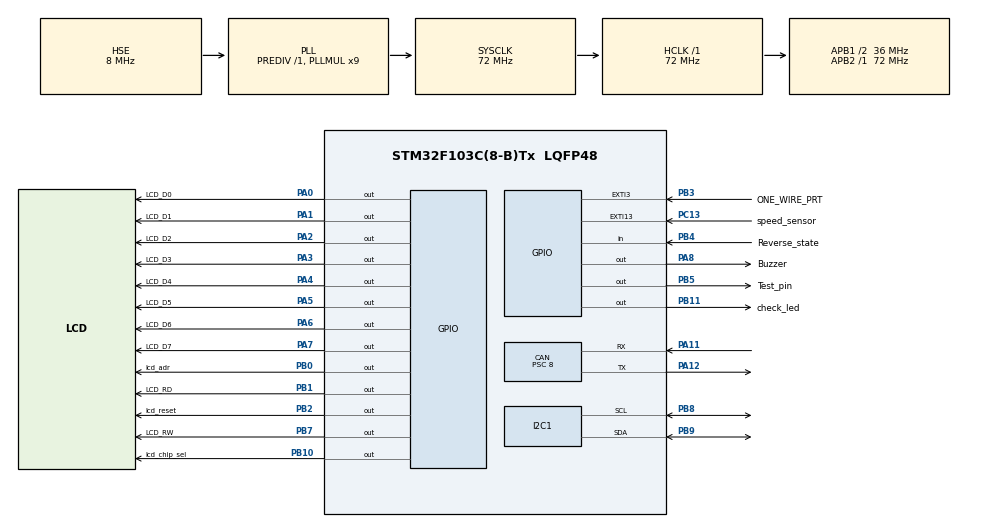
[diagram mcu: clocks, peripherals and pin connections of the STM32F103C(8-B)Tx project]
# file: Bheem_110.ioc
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CAN.BS1=CAN_BS1_15TQ
CAN.BS2=CAN_BS2_2TQ
CAN.CalculateBaudRate=250000
CAN.CalculateTimeBit=4000
CAN.CalculateTimeQuantum=222.22222222222223
CAN.Prescaler=8
I2C1.I2C_Mode=I2C_Fast
IWDG.Prescaler=IWDG_PRESCALER_128
IWDG.Reload=1000
Mcu.Family=STM32F1
Mcu.Name=STM32F103C(8-B)Tx
Mcu.Package=LQFP48
NVIC.EXTI15_10_IRQn=true\:0\:0\:false\:false\:true\:true\:true\:true
NVIC.EXTI3_IRQn=true\:0\:0\:false\:false\:true\:true\:true\:true
NVIC.PVD_IRQn=true\:0\:0\:false\:false\:true\:true\:true\:true
NVIC.PriorityGroup=NVIC_PRIORITYGROUP_4
NVIC.TIM2_IRQn=true\:0\:0\:false\:false\:true\:true\:true\:true
NVIC.USB_LP_CAN1_RX0_IRQn=true\:0\:0\:false\:false\:true\:true\:true\:true
PA0-WKUP.GPIO_Label=LCD_D0
PA0-WKUP.Signal=GPIO_Output
PA1.GPIO_Label=LCD_D1
PA1.Signal=GPIO_Output
PA11.Mode=CAN_Activate
PA11.Signal=CAN_RX
PA12.Mode=CAN_Activate
PA12.Signal=CAN_TX
PA13.Mode=Serial_Wire
PA13.Signal=SYS_JTMS-SWDIO
PA14.Mode=Serial_Wire
PA14.Signal=SYS_JTCK-SWCLK
PA2.GPIO_Label=LCD_D2
PA2.Signal=GPIO_Output
PA3.GPIO_Label=LCD_D3
PA3.Signal=GPIO_Output
PA4.GPIO_Label=LCD_D4
PA4.Signal=GPIO_Output
PA5.GPIO_Label=LCD_D5
PA5.Signal=GPIO_Output
PA6.GPIO_Label=LCD_D6
PA6.Signal=GPIO_Output
PA7.GPIO_Label=LCD_D7
PA7.Signal=GPIO_Output
PA8.GPIO_Label=Buzzer
PA8.Signal=GPIO_Output
PB0.GPIO_Label=lcd_adr
PB0.Signal=GPIO_Output
PB1.GPIO_Label=LCD_RD
PB1.Signal=GPIO_Output
PB10.GPIO_Label=lcd_chip_sel
PB10.Signal=GPIO_Output
PB11.GPIO_Label=check_led
PB11.Signal=GPIO_Output
PB2.GPIO_Label=lcd_reset
PB2.Signal=GPIO_Output
PB3.GPIO_Label=ONE_WIRE_PRT
PB3.GPIO_ModeDefaultEXTI=GPIO_MODE_IT_RISING
PB3.GPIO_PuPd=GPIO_PULLUP
PB3.Signal=GPXTI3
PB4.GPIO_Label=Reverse_state
PB4.GPIO_PuPd=GPIO_PULLUP
PB4.Signal=GPIO_Input
PB5.GPIO_Label=Test_pin
PB5.Signal=GPIO_Output
PB7.GPIO_Label=LCD_RW
PB7.PinState=GPIO_PIN_RESET
PB7.Signal=GPIO_Output
PB8.Mode=I2C
PB8.Signal=I2C1_SCL
PB9.Mode=I2C
PB9.Signal=I2C1_SDA
PC13-TAMPER-RTC.GPIO_Label=speed_sensor
PC13-TAMPER-RTC.GPIO_ModeDefaultEXTI=GPIO_MODE_IT_FALLING
PC13-TAMPER-RTC.GPIO_PuPd=GPIO_PULLUP
PC13-TAMPER-RTC.Signal=GPXTI13
PC14-OSC32_IN.Mode=LSE-External-Oscillator
PC14-OSC32_IN.Signal=RCC_OSC32_IN
PC15-OSC32_OUT.Mode=LSE-External-Oscillator
PC15-OSC32_OUT.Signal=RCC_OSC32_OUT
PD0-OSC_IN.Mode=HSE-External-Oscillator
PD0-OSC_IN.Signal=RCC_OSC_IN
PD1-OSC_OUT.Mode=HSE-External-Oscillator
PD1-OSC_OUT.Signal=RCC_OSC_OUT
ProjectManager.HeapSize=0x200
ProjectManager.StackSize=0x400
ProjectManager.TargetToolchain=STM32CubeIDE
RCC.ADCPresc=RCC_ADCPCLK2_DIV6
RCC.AHBFreq_Value=72000000
RCC.APB1CLKDivider=RCC_HCLK_DIV2
RCC.APB1Freq_Value=36000000
RCC.APB1TimFreq_Value=72000000
RCC.APB2Freq_Value=72000000
RCC.APB2TimFreq_Value=72000000
RCC.HCLKFreq_Value=72000000
RCC.PLLMUL=RCC_PLL_MUL9
RCC.PLLSourceVirtual=RCC_PLLSOURCE_HSE
RCC.SYSCLKFreq_VALUE=72000000
RCC.SYSCLKSource=RCC_SYSCLKSOURCE_PLLCLK
RCC.USBFreq_Value=72000000
TIM2.Period=72-1
TIM2.Prescaler=100-1
VP_IWDG_VS_IWDG.Mode=IWDG_Activate
VP_TIM2_VS_ClockSourceINT.Mode=Internal
board=custom

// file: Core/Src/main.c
/* USER CODE BEGIN Header */
/** to ceck pull in git
  ******************************************************************************
  * @file           : main.c
  * @brief          : Main program body
  ******************************************************************************
  * @attention
  *
  * Copyright (c) 2023 STMicroelectronics.
  * All rights reserved.
  *
  * This software is licensed under terms that can be found in the LICENSE file
  * in the root directory of this software component.
  * If no LICENSE file comes with this software, it is provided AS-IS.
  *
  ******************************************************************************
  */
/* USER CODE END Header */
#include "main.h"

/* USER CODE BEGIN Includes */

#include "Motordriver_Singlewire.h"
#include "Daly_can_com.h"
#include "Daly_can_com_source.c"
#include "FLASH_PAGE_F1.h"
#define EEPROM_DEV_ADD 0xA0 // EEPROM 7-bit address
#define bitSet(value, bit) ((value) |= (1UL << (bit)))
#define bitClear(value, bit) ((value) &= ~(1UL << (bit)))
#define  calib_reg 440//1656-165;
#define poles 24  //6*4
/* USER CODE END Includes */

CAN_HandleTypeDef hcan;

I2C_HandleTypeDef hi2c1;

IWDG_HandleTypeDef hiwdg;

TIM_HandleTypeDef htim2;

/* USER CODE BEGIN PV */
volatile uint8_t syncFlag = 0; // Whenever this flag is set the External Interrupt Will Disable, Reset External Interrupt Will Enable
volatile uint16_t signalCounter; //It increments the External Interrupt detection stored in dataArray.
volatile uint16_t timerCounter = 0; //It will incremented every timer interrupt occur with time.
volatile uint16_t dataArray[400]; //It stores whenever External Interrupt detected that corresponding time store in the timerCounter Variable.
volatile uint8_t validDataFlag; //If the checksum is equal to the received data then it will be stored 1 else it will 0.
uint16_t m_sec=0,lop=0;
uint8_t Tx_count=0;//This variable is for loop iteration
uint8_t Transmit_Data[8]; //Declaration of an array capable of holding one byte of transmit data
uint32_t Rx_Id; //Temporary variable for storing received identifier
uint32_t TxMailBox; // This variable is used to  transmitting data and acts like a message buffer
uint32_t speed_count=0,next_update=500000;
uint32_t speed_count_temp=0;
uint8_t after_sec=0;
uint8_t Odo_Write[3];//Array to store odo-meter values for the purpose of writing data
uint8_t data_Read[3];//Array to store the read odo-meter data retrieved from EEPROM
uint32_t Odo_Value[10],Odo_Value_1[10];
uint8_t Km_Flag=1;
uint8_t first_time=1;
uint8_t ODO_SEC=1;
uint8_t sensor_change=0;
uint8_t trip_reset_state=0;
int16_t Reserved_SOC=0;
uint16_t can_delay=500;
uint8_t can_state=0;
uint8_t print_pass=0;
uint8_t Battery_high_Temp=0;
uint16_t print_delay=2000;
uint8_t print_state=1;
uint8_t bat_icon_toogle=0;
uint8_t dataArray1[12];
uint8_t checksum_error;
uint16_t SYC_DATA=0;
uint8_t Pin_State;
uint16_t LBD_value;
uint8_t LBD_State=0;
uint32_t CGC_value;
uint32_t last_flash_update,read_flash_update;
uint8_t EEPROM_ADDRESS[10]={0x10,0x20,0x30,0x40,0x50,0x60,0x70,0x80,0x90,0xA0};
uint8_t TEMP_SP=0;

uint16_t Speed_cal=0;
uint8_t sensor_type=0;
//uint8_t syncFlag = 0; // Whenever this flag is set the External Interrupt Will Disable, Reset External Interrupt Will Enable
//uint8_t signalCounter=0; //It increments bit position for data bit by bit storing.
uint8_t timerCounter1 = 0; //It will incremented every timer interrupt occur with time.
uint8_t timerCounter2 = 0;
uint16_t timerCounter3 = 0;
struct motor_controller Motor_Data;
struct Speed //structure declaration
{
	uint32_t Odometer_Value;//structure members
	uint32_t Odometer_Value_temp;
	uint32_t Ref;
}Range;
void Split(uint32_t);//Function declaration
void Merge();//Function declaration
//Array declaration
uint8_t data_Write[3];
uint8_t data_Read[3];
uint16_t calib_write[2];
uint16_t calib_read[2];
uint8_t ADR_LOC=0;
uint8_t test_bit = 0;
CAN_TxHeaderTypeDef TxHeader;// Adding structure variable for accessing Transmitter frame format element Eg: StdId,RTR..
CAN_RxHeaderTypeDef RxHeader;// Adding Structure variable for accessing Receiver frame format element

uint16_t Bike_speed;
unsigned int BMS_ID[]={0X18900140,0X18910140, 0X18920140,0X18930140,0X18940140,0X18950140,0X18960140,0X18970140,0X18980140,0X18520140,0X18500140,0x09011024};

/* USER CODE END PV */

void SystemClock_Config(void);
static void MX_GPIO_Init(void);
static void MX_CAN_Init(void);
static void MX_TIM2_Init(void);
static void MX_I2C1_Init(void);
static void MX_IWDG_Init(void);

/* USER CODE BEGIN 0 */

void EEPROM_Write(uint16_t address, uint8_t* data, uint16_t size);//Write Function Declaration
void EEPROM_Read(uint16_t address, uint8_t* data, uint16_t size);//Read Function Declaration
void CAN_BMS(void);//Declaration

////10 different type of Extended Identifier stored in a array

///*Transmitter Function
// * In this function 10 different types of identifier throw on the CAN bus in a particular time delay
// * for Receiving response from BMS according to the Identifier request
// * Transmit data should be given to the mailbox
// */

void parllel_transmit(uint8_t data)
{
	GPIOA->ODR=0X00|data;
}

void Split(uint32_t Odo_Value)
{
	data_Write[0]= Odo_Value & 0xFF;
	data_Write[1]= (Odo_Value>>8) & 0xFF;
	data_Write[2]= (Odo_Value>>16) & 0xFF;
}
/*
 * This function is used to merging data which is read from EEPROM
 * Merging individual byte of data and stored in a Structure
 */

void I2C_Write_EEPROM(uint32_t data_eeprom,uint8_t address)
{
   Split(data_eeprom);
   EEPROM_Write(address, data_Write, sizeof(data_Write));//Write odo-meter data
}

int I2C_Read_EEPROM(uint8_t address)
{
	EEPROM_Read(address, data_Read, sizeof(data_Read));
	return((data_Read[2] << 16) | (data_Read[1] << 8) | (data_Read[0]));
}

/*
 * This function is used to write the data in EEPROM
 * This function contains Target device address,Internal Memory address
 * Size of internal memory address,Data buffer for storing write data ,
 * Size Amount of data to be sent and Timeout Timeout duration
 */
void EEPROM_Write(uint16_t address, uint8_t* data, uint16_t size)
{
  HAL_I2C_Mem_Write(&hi2c1, EEPROM_DEV_ADD, address, I2C_MEMADD_SIZE_8BIT, data, size, HAL_MAX_DELAY);
  HAL_Delay(5); // Delay for EEPROM write operation
}
/*
 * This function is used to read the data from EEPROM
 * This function contains Target device address,Internal Memory address
 * Size of internal memory address,Data Buffer for storing read data,
 * Size Amount of data to be read and Timeout Timeout duration
 */
void EEPROM_Read(uint16_t address, uint8_t* data, uint16_t size)
{
  HAL_I2C_Mem_Read(&hi2c1, EEPROM_DEV_ADD, address, I2C_MEMADD_SIZE_8BIT, data, size, HAL_MAX_DELAY);
  HAL_Delay(5); // Delay for EEPROM read operation
}

void battery_voltage()
{
	lcd_clear(7, 0, 12);
	lcd_print_digit_wos(7, 0, (BMS.Cumulative_Total_Voltage/100));
	lcd_print_digit_wos(7, 6, (BMS.Cumulative_Total_Voltage/10)%10);
	lcd_print_char(7, 12, "V");
}

void battery_current()
{
	lcd_clear(7, 110, 12);
	lcd_print_digit_wos(7, 110, (BMS.Current/100));
	lcd_print_digit_wos(7, 116, (BMS.Current/10)%10);
	lcd_print_char(7, 122, "A");
}
void battery_cycle()
{
	charge_cycle_print();
	CGC_value=BMS.Cumulative_Charge/BMS.Battery_capacity;
 	lcd_print_digit_wos(3, 103, (CGC_value)/1000);
	lcd_print_digit_wos(3, 109, ((CGC_value)%1000)/100);
	lcd_print_digit_wos(3, 115, ((((CGC_value)%1000)%100)/10));
	lcd_print_digit_wos(3, 121, ((((CGC_value)%1000)%100)%10));
}

uint8_t tog_temp=0;
void battery_temp()
{

	if((BMS.Max_Temp==0)&&(BMS.Min_Temp==0))
	{
		lcd_print_digit(0, 0, BMS.Max_Temp);
		lcd_print_convert(0, 12, 0x03);
		lcd_print_convert(0, 13, 0x03);
		lcd_print_char(0, 15, "C");
	}
	else
	{
		if(BMS.Max_Temp>50)
		{
			lcd_print_digit(0, 0, ((BMS.Max_Temp)-40));
			lcd_print_convert(0, 12, 0x03);
			lcd_print_convert(0, 13, 0x03);
			lcd_print_char(0, 15, "C");
		}
		else
		{
			if((BMS.Min_Temp<=49)&&(BMS.Min_Temp>=40))// less tham 10 degree min temp will be printed
			{
				lcd_print_digit(0, 0, ((BMS.Min_Temp)-40));//
				lcd_print_convert(0, 12, 0x03);
				lcd_print_convert(0, 13, 0x03);
				lcd_print_char(0, 15, "C");
			}

			if((BMS.Min_Temp<=39)&&(BMS.Min_Temp>=31))// less tham 10 degree min temp will be printed
			{
				lcd_print_convert(0, 0, 0x10);
				lcd_print_convert(0, 1, 0x10);
				lcd_print_convert(0, 2, 0x10);
				lcd_print_convert(0, 3, 0x10);
				lcd_print_digit(0, 5, 40-((BMS.Min_Temp)));//
				lcd_print_convert(0, 11, 0x03);
				lcd_print_convert(0, 12, 0x03);
				lcd_print_char(0, 14, "C");
			}
			if((BMS.Min_Temp<=30)&&(BMS.Min_Temp>=0))// less tham 10 degree min temp will be printed
			{
				lcd_print_convert(0, 0, 0x10);
				lcd_print_convert(0, 1, 0x10);
				lcd_print_convert(0, 2, 0x10);
				lcd_print_convert(0, 3, 0x10);
				lcd_print_digit(0, 5, 40-((BMS.Min_Temp)));//
				lcd_print_convert(0, 17, 0x03);
				lcd_print_convert(0, 18, 0x03);
				lcd_print_char(0, 20, "C");
			}
		}
	}

	// negative value should be printer draw (-)

	if(BMS.Max_Temp>95)
	{
		tog_temp=(!tog_temp);

		if(tog_temp)
		{
			Battery_high_Temp=1;
			over_temperature_print();
		}
		else
		{
			lcd_clear(1, 25, 13);
			lcd_clear(2, 25, 13);
		}
	}

	if(BMS.Max_Temp<90)
	{
		lcd_clear(1, 25, 12);
		lcd_clear(2, 25, 13);
		Battery_high_Temp=0;
	}

	if((BMS.Max_Temp==0)&&(BMS.Min_Temp==0))
	{
		lcd_print_digit_wos(0, 0, 0);
		lcd_print_digit_wos(0, 6, 0);
	}
}
uint8_t neg_soc=0;
void battery_soc()
{
	if(BMS.SOC>=150)
	{
		neg_soc=0;
		Reserved_SOC=(int)1000.0-((1000.0-BMS.SOC)*(100.0/85.0));
	}
	else
	{
		neg_soc=1;
		Reserved_SOC=150-BMS.SOC;
	}

	if(Reserved_SOC==1000){
		lcd_clear(7, 98, 29);
		lcd_print_digit_wos(7, 104, 1);
		lcd_print_digit_wos(7, 110, 0);
		lcd_print_digit_wos(7, 116, 0);
		lcd_print_char(7, 122, "%");
	}
	else{
		lcd_clear(7, 98, 29);
		if(neg_soc)
		{
			//lcd_print_convert(7, 104, 0x10);
			lcd_print_convert(7, 105, 0x10);
			lcd_print_convert(7, 106, 0x10);
			lcd_print_convert(7, 107, 0x10);
			lcd_print_convert(7, 108, 0x10);
		}
		lcd_print_digit_wos(7, 110, (Reserved_SOC/100));
		lcd_print_digit_wos(7, 116, (Reserved_SOC/10)%10);
		lcd_print_char(7, 122, "%");
	}
	battery_bar_soc();
}
uint8_t start_inc=0;uint8_t Reverse_status=0;uint16_t DTE=0;
void Gear_Status()
{

	if(HAL_GPIO_ReadPin(GPIOB, Reverse_state_Pin)==1)
		{
			gear_status_print(0); // REVERSE
			Reverse_status=1;
		}
	else
		{
			Reverse_status=0;
			if(Motor_Data.Device_Code==8)
			{
				gear_status_print(Motor_Data.Three_speed);

				if(Motor_Data.Three_speed==1)
				{
					DTE=(Reserved_SOC*1.4)/10.0;
				}
				if(Motor_Data.Three_speed==2)
				{
					DTE=(Reserved_SOC*1.2)/10.0;
				}
				if(Motor_Data.Three_speed==3)
				{
					DTE=(Reserved_SOC*1)/10.0;
				}
			}

			if(Motor_Data.Device_Code==13)
			{
				if(Motor_Data.Three_speed==3)
				{
					gear_status_print(1);
					DTE=(Reserved_SOC*1.4)/10.0;
				}
				if(Motor_Data.Three_speed==0)
				{
					gear_status_print(2);
					DTE=(Reserved_SOC*1.2)/10.0;
				}
				if(Motor_Data.Three_speed==1)
				{
					gear_status_print(3);
					DTE=(Reserved_SOC*1)/10.0;
				}
			}

//				if((HAL_GPIO_ReadPin(GPIOB, Gear_1_Pin)==1)&&((HAL_GPIO_ReadPin(GPIOB, Gear_3_Pin)==0)))
//					{
//						Gear_State=3;
//						DTE=(Reserved_SOC*1)/10.0;
//					}
//				if((HAL_GPIO_ReadPin(GPIOB, Gear_1_Pin)==0)&&((HAL_GPIO_ReadPin(GPIOB, Gear_3_Pin)==0)))
//					{
//						Gear_State=2;
//						DTE=(Reserved_SOC*1.2)/10.0;
//					}
//				if((HAL_GPIO_ReadPin(GPIOB, Gear_1_Pin)==0)&&((HAL_GPIO_ReadPin(GPIOB, Gear_3_Pin)==1)))
//					{
//						Gear_State=1;
//						DTE=(Reserved_SOC*1.4)/10.0;
//					}

		}
	if(BMS.SOC<150)
	{
		DTE=0;
	}
}

void EEPROM_init()
{
	I2C_Write_EEPROM(0, 0x00);
  Range.Ref=I2C_Read_EEPROM(ODO_ADDRESS_Ref);
	 if(Range.Ref!=1234)
	 {
		 I2C_Write_EEPROM(7000, gear_ratio_EEPROM);
		 I2C_Write_EEPROM(1, speed_sensor_type_EEPROM);
		 I2C_Write_EEPROM(1234, ODO_ADDRESS_Ref);
		 I2C_Write_EEPROM(0, last_flash_update_EEPROM);
		 for(uint8_t inf=0;inf<=9;inf++)  //Read data from EEPROM
		 {
			I2C_Write_EEPROM(0,EEPROM_ADDRESS[inf]);
		 }
		 HAL_Delay(50);
	 }
	 else
	 {
		 last_flash_update=I2C_Read_EEPROM(last_flash_update_EEPROM); // read last flash write data
		 OBD.speed_sensor_type=I2C_Read_EEPROM(speed_sensor_type_EEPROM);
		 OBD.Gear_ratio=(float)((I2C_Read_EEPROM(gear_ratio_EEPROM))/1000.0);

		 for(uint8_t inf=0;inf<=9;inf++)  //Read data from EEPROM
		 {
			Odo_Value_1[inf]=Odo_Value[inf]=I2C_Read_EEPROM(EEPROM_ADDRESS[inf]);
		 }

		 for (uint8_t i = 1; i < 10; i++)
		 {
			if (Odo_Value[i] < Odo_Value[ADR_LOC])
			{
				ADR_LOC= i;
			}
		 }

		uint32_t temp=0;
		 for (uint8_t i = 0; i < 10; i++)
		 {
			 for (uint8_t j = 0; j < 9-i; j++)
			 {
				 if (Odo_Value[j] > Odo_Value[j+1])
				 {
					 // Swap arr[j] and arr[j+1]
					 temp = Odo_Value[j];
					 Odo_Value[j] = Odo_Value[j+1];
					 Odo_Value[j+1] = temp;
				 }
			 }
		 }
		 uint8_t check_temp=0;
		for(uint8_t i=0;i<=9;i++)
		{
			if((last_flash_update<=Odo_Value[i])&&((last_flash_update+1000)>=Odo_Value[i]))
			{
				Range.Odometer_Value=Odo_Value[i];
				check_temp++;
			}
		}

		if(check_temp==0)
		{
			Range.Odometer_Value=last_flash_update;
		}
	 }
	 first_time=3;
}

uint8_t can_error=0,can_error_state=0,error_count=0;
void BMS_CAN()//Transmitter function
{
	for(Tx_count=0; Tx_count<12; Tx_count++)
	{
		TxHeader.ExtId = BMS_ID[Tx_count]; // Extended Identifier
		TxHeader.IDE = CAN_ID_EXT; // Identifier Extension
		TxHeader.RTR = CAN_RTR_DATA;// Remote Transmission Request bit, here send data frame
		TxHeader.DLC = 8;//Data length code
		Transmit_Data[Tx_count]=0x00;//Data

		if(HAL_CAN_AddTxMessage(&hcan, &TxHeader, &Transmit_Data[Tx_count], &TxMailBox) != HAL_OK)//Adding data to the mailbox for transmitting
		{
			//Error_Handler();
		}
		HAL_Delay(50);
	}
		if(can_error_state==0) // Can Error finder
		{
			if(can_error)
			{
				error_count++;
			}
			if(error_count>=10)
			{
				can_error_state=1;
			}
		}
		else
		{
			lcd_print_char(3, 85, "Batt");
			lcd_print_char(3, 110, "Err");
			BMS.SOC=BMS.Max_Temp=BMS.Min_Temp=BMS.Cumulative_Total_Voltage=0;
		}
		can_error=1;
	Tx_count=0;
}

uint8_t temp_bat=0;
void battery_bar_soc()
{

	if((Reserved_SOC>=950)&&(Reserved_SOC<=1000))
	{
		battery_bar_print(5);
	}
	else if((Reserved_SOC>=800)&&(Reserved_SOC<=949))
	{
		battery_bar_print(4);
	}
	else if((Reserved_SOC>=600)&&(Reserved_SOC<=799))
	{
		battery_bar_print(3);
	}
	else if((Reserved_SOC>=400)&&(Reserved_SOC<=599))
	{
		battery_bar_print(2);
	}
	else if((Reserved_SOC>=200)&&(Reserved_SOC<=399))
	{
		battery_bar_print(1);
	}
	else if((Reserved_SOC>=0)&&(Reserved_SOC<=199))
	{
		bat_icon_toogle=!bat_icon_toogle;

		if(bat_icon_toogle){
			battery_bar_print(0);
		}
		else{

			line_print();
		}
	}
	else
	{
		battery_bar_print(0);
	}
}
uint8_t rx=0;
uint8_t can_gear_req=0;
void HAL_CAN_RxFifo0MsgPendingCallback(CAN_HandleTypeDef *hcan)//Receiver Interrupt Function
{
 	if(HAL_CAN_GetRxMessage(hcan, CAN_RX_FIFO0, &RxHeader, Received_Data) == HAL_OK)//Receiving data through FIFO
 	{
 		Rx_Id = RxHeader.ExtId;
 		merge(Rx_Id);// Implementation of merging and splitting received BMS data
 		can_error_state=0;
 		can_error=0;
 		error_count=0;
 		if((Rx_Id==0x09021024)||(Rx_Id==0x09031024))
 		{
 			rx=1;
 		}
 	}
}

void Tx_fun(uint32_t TX_data)
{

		switch (TX_data)
		{
			case IDT_02:
			{
				TxHeader.ExtId =0x09022024; // Extended Identifier
				TxHeader.IDE = CAN_ID_EXT; // Identifier Extension
				TxHeader.RTR = CAN_RTR_DATA;// Remote Transmission Request bit, here send data frame
				TxHeader.DLC = 8;//Data length code
				Transmit_Data[0]=0x02;//Flio->1 Bheem->2
				Transmit_Data[1]=((Range.Odometer_Value&0xff000000)>>24);//Data
				Transmit_Data[2]=((Range.Odometer_Value&0x00ff0000)>>16);//Data
				Transmit_Data[3]=((Range.Odometer_Value&0x0000ff00)>>8);//Data
				Transmit_Data[4]=((Range.Odometer_Value&0x000000ff));//Data
				Transmit_Data[5]=((CGC_value&0xff00)>>8);//Data
				Transmit_Data[6]=((CGC_value&0x00ff)>>0);;//Data
				Transmit_Data[7]=(Reserved_SOC/10);//Data

				if(HAL_CAN_AddTxMessage(&hcan, &TxHeader, &Transmit_Data[Tx_count], &TxMailBox) != HAL_OK)//Adding data to the mailbox for transmitting
				{
				//Error_Handler();
				}
				break;
			}
			case IDT_03:
			{

				TxHeader.ExtId =0x09032024; // Extended Identifier
				TxHeader.IDE = CAN_ID_EXT; // Identifier Extension
				TxHeader.RTR = CAN_RTR_DATA;// Remote Transmission Request bit, here send data frame
				TxHeader.DLC = 8;//Data length code
				Transmit_Data[0]=OBD.speed_sensor_type;//Front->1 back->2
				Transmit_Data[1]=(((uint32_t)OBD.Gear_ratio&0xff000000)>>24);//Data
				Transmit_Data[2]=(((uint32_t)OBD.Gear_ratio&0x00ff0000)>>16);//Data
				Transmit_Data[3]=(((uint32_t)OBD.Gear_ratio&0x0000ff00)>>8);//Data
				Transmit_Data[4]=(((uint32_t)OBD.Gear_ratio&0x000000ff));//Data
				Transmit_Data[5]=0;
				Transmit_Data[6]=0;
				Transmit_Data[7]=0;
				if(HAL_CAN_AddTxMessage(&hcan, &TxHeader, &Transmit_Data[Tx_count], &TxMailBox) != HAL_OK)//Adding data to the mailbox for transmitting
				{
					//Error_Handler();
				}
				break;
			}
			default:
					break;
		}
		rx=0;
	}

uint16_t pluse_count=0;uint8_t bike_speed;
float speed_result_float=0;
void ODO_PRINT()
{
	if(OBD.speed_sensor_type==1)
	{
		lcd_speed(bike_speed,OBD.speed_sensor_type);
	}
	else
	{
		lcd_speed((int)speed_result_float,OBD.speed_sensor_type);
	}

	lcd_clear(0, 96, 51);
	uint8_t first_1=DTE/100;
	uint8_t second_1=((DTE%100)/10);
	uint8_t third_1=((DTE%100)%10);
	dte_icon_print();
	lcd_print_digit_wos(0, 98,first_1);
	lcd_print_digit_wos(0, 104,second_1);
	lcd_print_digit_wos(0, 110,third_1);
	lcd_print_char(0, 116, "km");

	uint8_t first = (Range.Odometer_Value / 1000000);
	uint8_t second = ((Range.Odometer_Value % 1000000) / 100000);
	uint8_t third = ((Range.Odometer_Value % 100000) / 10000);
	uint8_t fourth = ((Range.Odometer_Value % 10000) / 1000);
	uint8_t fifth = ((Range.Odometer_Value % 1000) / 100);
	uint8_t sixth = ((Range.Odometer_Value % 100) / 10);
	uint8_t seventh = (Range.Odometer_Value % 10);

	lcd_clear(5, 32, 64);
	odo_icon_print();
	lcd_print_digit_wos(5, 50,first);
	lcd_print_digit_wos(5, 56,second);
	lcd_print_digit_wos(5, 62,third);
	lcd_print_digit_wos(5, 68,fourth);
	lcd_print_digit_wos(5, 74,fifth);
	lcd_print_digit_wos(5, 80,sixth);
	lcd_print_char(5,87, "km");

}
uint16_t speed_temp1=0;
uint32_t controller_speed_data=0;
uint16_t meter_count=0,meter_sec=0;

void ODO_calculation()
{
	if(after_sec)
	{
		if(OBD.speed_sensor_type==1)
		{
			bike_speed=((speed_count*360)/calib_reg);
			pluse_count+=speed_count;
			after_sec=0;
		}
		else
		{
			speed_result_float =(((((float)controller_speed_data * 12305)/poles)/1000)/OBD.Gear_ratio); // ((((N*7200*D*Pi)/P)/1000)/gear_ratio)
			meter_sec=(int)((speed_result_float)*0.2777);    //m/sec  1000/3600
			meter_count=meter_count+meter_sec;
		}
	}

	if((pluse_count>=calib_reg)||(meter_count>=100))
	{
		pluse_count=meter_count=0;
		Range.Odometer_Value++;
		I2C_Write_EEPROM(Range.Odometer_Value,EEPROM_ADDRESS[ADR_LOC]);
		Odo_Value[ADR_LOC]=Range.Odometer_Value_temp=I2C_Read_EEPROM(EEPROM_ADDRESS[ADR_LOC]);
		if(Range.Odometer_Value==Range.Odometer_Value_temp)
		{
			ADR_LOC++;
		}
		else
		{
			ADR_LOC++;
			if(ADR_LOC>=10)
			{
				ADR_LOC=0;
			}
			I2C_Write_EEPROM(Range.Odometer_Value,EEPROM_ADDRESS[ADR_LOC]);
			ADR_LOC++;
		}
		if(ADR_LOC>=10)
		{
			ADR_LOC=0;
			if((last_flash_update<=Range.Odometer_Value)&&((last_flash_update+1)>=Range.Odometer_Value))
			{
				Range.Odometer_Value=last_flash_update;
			}
		}
	}
}
uint8_t cmd_rx;
uint16_t speed_temp=0,Controller_Speed=0;
/* USER CODE END 0 */

int main(void)
{

  /* MCU Configuration--------------------------------------------------------*/

  /* Reset of all peripherals, Initializes the Flash interface and the Systick. */
  HAL_Init();

  /* Configure the system clock */
  SystemClock_Config();

  /* Initialize all configured peripherals */
  MX_GPIO_Init();
  MX_CAN_Init();
  MX_TIM2_Init();
  MX_I2C1_Init();
  MX_IWDG_Init();
  /* USER CODE BEGIN 2 */
  PVD_Init();
  HAL_I2C_Init(&hi2c1);
  HAL_CAN_Start(&hcan);// CAN protocol enable function
  HAL_CAN_ActivateNotification(&hcan,CAN_IT_RX_FIFO0_MSG_PENDING); // Interrupt activation for Receiving data ,whenever data is received in FIFO, this function will get triggered and goes to receiver interrupt function
  HAL_TIM_Base_Start_IT(&htim2); // Timer2 Interrupt Start
  /* USER CODE END 2 */

  /* Infinite loop */
  /* USER CODE BEGIN WHILE */
  lcd_init();
     if(RCC->CSR&RCC_CSR_IWDGRSTF)
     {
    	 RCC->CSR|=1<<24;
     }
     else
     {
		lcd_into();
		HAL_Delay(500);
		lcd_clear(0, 0, 127);
		lcd_clear(1, 0, 127);
		lcd_clear(2, 0, 127);
		lcd_clear(3, 0, 127);
		lcd_clear(4, 0, 127);
		lcd_clear(5, 0, 127);
		lcd_clear(6, 0, 127);
		lcd_clear(7, 0, 127);
     }
     EEPROM_init();
	 MX_IWDG_Init();
 while(1)
  {
    /* USER CODE END WHILE */

    /* USER CODE BEGIN 3 */

	  if(print_state)
	  {
		print_state=0;
		lcd_clear(0, 0, 127);
		lcd_clear(1, 0, 127);
		lcd_clear(2, 0, 127);
		lcd_clear(3, 0, 127);
		lcd_clear(4, 0, 127);
		lcd_clear(5, 0, 127);
		lcd_clear(6, 0, 127);
		lcd_clear(7, 0, 127);
		BMS_CAN();// read data from the BMS through the can protocol
		if(first_time)
		{
		   battery_cycle();
		   first_time--;
		}
		Gear_Status();
		battery_temp();
		line_print();
		battery_soc();
		ODO_calculation();
		ODO_PRINT();
		battery_voltage();
		Lcd_cmd(0xA2); // ADC select
		Lcd_cmd(0xA0);// SHL select
		Lcd_cmd(0xC0);// Initial display line
		Lcd_cmd(0x40);
		lcd_invert_process();
		lcd_print_ram_1();
	  }
	  if(sensor_change)
	  {
		  sensor_change=0;
		  I2C_Write_EEPROM(OBD.Gear_ratio,gear_ratio_EEPROM);
		  I2C_Write_EEPROM(OBD.speed_sensor_type,speed_sensor_type_EEPROM);
	  }
		if((Range.Odometer_Value>=last_flash_update+1000)&&(Range.Odometer_Value<=last_flash_update+1010))
		{
			last_flash_update=Range.Odometer_Value;
			I2C_Write_EEPROM(last_flash_update,last_flash_update_EEPROM);
		}
		if(rx)
		{
			Tx_fun(Rx_Id);
		}
		HAL_IWDG_Refresh(&hiwdg);
  }
  /* USER CODE END 3 */
}

void SystemClock_Config(void)
{
  RCC_OscInitTypeDef RCC_OscInitStruct = {0};
  RCC_ClkInitTypeDef RCC_ClkInitStruct = {0};

  /** Initializes the RCC Oscillators according to the specified parameters
  * in the RCC_OscInitTypeDef structure.
  */
  RCC_OscInitStruct.OscillatorType = RCC_OSCILLATORTYPE_LSI|RCC_OSCILLATORTYPE_HSE;
  RCC_OscInitStruct.HSEState = RCC_HSE_ON;
  RCC_OscInitStruct.HSEPredivValue = RCC_HSE_PREDIV_DIV1;
  RCC_OscInitStruct.HSIState = RCC_HSI_ON;
  RCC_OscInitStruct.LSIState = RCC_LSI_ON;
  RCC_OscInitStruct.PLL.PLLState = RCC_PLL_ON;
  RCC_OscInitStruct.PLL.PLLSource = RCC_PLLSOURCE_HSE;
  RCC_OscInitStruct.PLL.PLLMUL = RCC_PLL_MUL9;
  if (HAL_RCC_OscConfig(&RCC_OscInitStruct) != HAL_OK)
  {
    Error_Handler();
  }

  /** Initializes the CPU, AHB and APB buses clocks
  */
  RCC_ClkInitStruct.ClockType = RCC_CLOCKTYPE_HCLK|RCC_CLOCKTYPE_SYSCLK
                              |RCC_CLOCKTYPE_PCLK1|RCC_CLOCKTYPE_PCLK2;
  RCC_ClkInitStruct.SYSCLKSource = RCC_SYSCLKSOURCE_PLLCLK;
  RCC_ClkInitStruct.AHBCLKDivider = RCC_SYSCLK_DIV1;
  RCC_ClkInitStruct.APB1CLKDivider = RCC_HCLK_DIV2;
  RCC_ClkInitStruct.APB2CLKDivider = RCC_HCLK_DIV1;

  if (HAL_RCC_ClockConfig(&RCC_ClkInitStruct, FLASH_LATENCY_2) != HAL_OK)
  {
    Error_Handler();
  }
}

static void MX_CAN_Init(void)
{

  hcan.Instance = CAN1;
  hcan.Init.Prescaler = 8;
  hcan.Init.Mode = CAN_MODE_NORMAL;
  hcan.Init.SyncJumpWidth = CAN_SJW_1TQ;
  hcan.Init.TimeSeg1 = CAN_BS1_15TQ;
  hcan.Init.TimeSeg2 = CAN_BS2_2TQ;
  hcan.Init.TimeTriggeredMode = DISABLE;
  hcan.Init.AutoBusOff = DISABLE;
  hcan.Init.AutoWakeUp = DISABLE;
  hcan.Init.AutoRetransmission = DISABLE;
  hcan.Init.ReceiveFifoLocked = DISABLE;
  hcan.Init.TransmitFifoPriority = DISABLE;
  if (HAL_CAN_Init(&hcan) != HAL_OK)
  {
    Error_Handler();
  }
  /* USER CODE BEGIN CAN_Init 2 */
  /*Filter Configuration
    * Filter ID and Filter Mask are used to compare and verify the incoming Identifier for receiving data
    * FIFO 0 is used for store the received data
    *In FiterID mask mode , two 32 bit registers (Filter ID and Filter Mask)
    */
	CAN_FilterTypeDef filtercon;// Need to add filter configuration for receiving data
	filtercon.FilterActivation = CAN_FILTER_ENABLE;//Enable Filter for receiving data
	filtercon.FilterBank = 1;//Here using filter bank 1 for receiving data(Controller- single CAN -14 filter bank)
	filtercon.FilterFIFOAssignment = CAN_FILTER_FIFO0;//using FIFO 0 for receiving data
	filtercon.FilterIdHigh = 0x0000;//controller receives all the identifier without any restriction if gives 0x0000
	filtercon.FilterIdLow = 0x0000;//controller receives all the identifier without any restriction if gives 0x0000
	filtercon.FilterMaskIdHigh = 0X0000;//controller receives all the identifier without any restriction if gives 0x0000
	filtercon.FilterMaskIdLow = 0X0000;//controller receives all the identifier without any restriction if gives 0x0000
	filtercon.FilterMode = CAN_FILTERMODE_IDMASK;//using ID mask mode receiving identifier
	filtercon.FilterScale = CAN_FILTERSCALE_32BIT;//32 bit register ID and Mask register
	filtercon.SlaveStartFilterBank = 0;// don't care if the controller has single CAN
	HAL_CAN_ConfigFilter(&hcan,&filtercon);//Filter configuration declaration
  /* USER CODE END CAN_Init 2 */

}

static void MX_I2C1_Init(void)
{

  hi2c1.Instance = I2C1;
  hi2c1.Init.ClockSpeed = 400000;
  hi2c1.Init.DutyCycle = I2C_DUTYCYCLE_2;
  hi2c1.Init.OwnAddress1 = 0;
  hi2c1.Init.AddressingMode = I2C_ADDRESSINGMODE_7BIT;
  hi2c1.Init.DualAddressMode = I2C_DUALADDRESS_DISABLE;
  hi2c1.Init.OwnAddress2 = 0;
  hi2c1.Init.GeneralCallMode = I2C_GENERALCALL_DISABLE;
  hi2c1.Init.NoStretchMode = I2C_NOSTRETCH_DISABLE;
  if (HAL_I2C_Init(&hi2c1) != HAL_OK)
  {
    Error_Handler();
  }

}

static void MX_IWDG_Init(void)
{

  hiwdg.Instance = IWDG;
  hiwdg.Init.Prescaler = IWDG_PRESCALER_128;
  hiwdg.Init.Reload = 1000;
  if (HAL_IWDG_Init(&hiwdg) != HAL_OK)
  {
    Error_Handler();
  }

}

static void MX_TIM2_Init(void)
{

  TIM_ClockConfigTypeDef sClockSourceConfig = {0};
  TIM_MasterConfigTypeDef sMasterConfig = {0};

  htim2.Instance = TIM2;
  htim2.Init.Prescaler = 100-1;
  htim2.Init.CounterMode = TIM_COUNTERMODE_UP;
  htim2.Init.Period = 72-1;
  htim2.Init.ClockDivision = TIM_CLOCKDIVISION_DIV1;
  htim2.Init.AutoReloadPreload = TIM_AUTORELOAD_PRELOAD_DISABLE;
  if (HAL_TIM_Base_Init(&htim2) != HAL_OK)
  {
    Error_Handler();
  }
  sClockSourceConfig.ClockSource = TIM_CLOCKSOURCE_INTERNAL;
  if (HAL_TIM_ConfigClockSource(&htim2, &sClockSourceConfig) != HAL_OK)
  {
    Error_Handler();
  }
  sMasterConfig.MasterOutputTrigger = TIM_TRGO_RESET;
  sMasterConfig.MasterSlaveMode = TIM_MASTERSLAVEMODE_DISABLE;
  if (HAL_TIMEx_MasterConfigSynchronization(&htim2, &sMasterConfig) != HAL_OK)
  {
    Error_Handler();
  }

}

static void MX_GPIO_Init(void)
{
  GPIO_InitTypeDef GPIO_InitStruct = {0};

  /* GPIO Ports Clock Enable */
  __HAL_RCC_GPIOC_CLK_ENABLE();
  __HAL_RCC_GPIOD_CLK_ENABLE();
  __HAL_RCC_GPIOA_CLK_ENABLE();
  __HAL_RCC_GPIOB_CLK_ENABLE();

  /*Configure GPIO pin Output Level */
  HAL_GPIO_WritePin(GPIOA, LCD_D0_Pin|LCD_D1_Pin|LCD_D2_Pin|LCD_D3_Pin
                          |LCD_D4_Pin|LCD_D5_Pin|LCD_D6_Pin|LCD_D7_Pin
                          |Buzzer_Pin, GPIO_PIN_RESET);

  /*Configure GPIO pin Output Level */
  HAL_GPIO_WritePin(GPIOB, lcd_adr_Pin|LCD_RD_Pin|lcd_reset_Pin|lcd_chip_sel_Pin
                          |check_led_Pin|Test_pin_Pin|LCD_RW_Pin, GPIO_PIN_RESET);

  /*Configure GPIO pin : speed_sensor_Pin */
  GPIO_InitStruct.Pin = speed_sensor_Pin;
  GPIO_InitStruct.Mode = GPIO_MODE_IT_FALLING;
  GPIO_InitStruct.Pull = GPIO_PULLUP;
  HAL_GPIO_Init(speed_sensor_GPIO_Port, &GPIO_InitStruct);

  /*Configure GPIO pins : LCD_D0_Pin LCD_D1_Pin LCD_D2_Pin LCD_D3_Pin
                           LCD_D4_Pin LCD_D5_Pin LCD_D6_Pin LCD_D7_Pin
                           Buzzer_Pin */
  GPIO_InitStruct.Pin = LCD_D0_Pin|LCD_D1_Pin|LCD_D2_Pin|LCD_D3_Pin
                          |LCD_D4_Pin|LCD_D5_Pin|LCD_D6_Pin|LCD_D7_Pin
                          |Buzzer_Pin;
  GPIO_InitStruct.Mode = GPIO_MODE_OUTPUT_PP;
  GPIO_InitStruct.Pull = GPIO_NOPULL;
  GPIO_InitStruct.Speed = GPIO_SPEED_FREQ_LOW;
  HAL_GPIO_Init(GPIOA, &GPIO_InitStruct);

  /*Configure GPIO pins : lcd_adr_Pin LCD_RD_Pin lcd_reset_Pin lcd_chip_sel_Pin
                           check_led_Pin Test_pin_Pin LCD_RW_Pin */
  GPIO_InitStruct.Pin = lcd_adr_Pin|LCD_RD_Pin|lcd_reset_Pin|lcd_chip_sel_Pin
                          |check_led_Pin|Test_pin_Pin|LCD_RW_Pin;
  GPIO_InitStruct.Mode = GPIO_MODE_OUTPUT_PP;
  GPIO_InitStruct.Pull = GPIO_NOPULL;
  GPIO_InitStruct.Speed = GPIO_SPEED_FREQ_LOW;
  HAL_GPIO_Init(GPIOB, &GPIO_InitStruct);

  /*Configure GPIO pin : ONE_WIRE_PRT_Pin */
  GPIO_InitStruct.Pin = ONE_WIRE_PRT_Pin;
  GPIO_InitStruct.Mode = GPIO_MODE_IT_RISING;
  GPIO_InitStruct.Pull = GPIO_PULLUP;
  HAL_GPIO_Init(ONE_WIRE_PRT_GPIO_Port, &GPIO_InitStruct);

  /*Configure GPIO pin : Reverse_state_Pin */
  GPIO_InitStruct.Pin = Reverse_state_Pin;
  GPIO_InitStruct.Mode = GPIO_MODE_INPUT;
  GPIO_InitStruct.Pull = GPIO_PULLUP;
  HAL_GPIO_Init(Reverse_state_GPIO_Port, &GPIO_InitStruct);

  /* EXTI interrupt init*/
  HAL_NVIC_SetPriority(EXTI3_IRQn, 0, 0);
  HAL_NVIC_EnableIRQ(EXTI3_IRQn);

  HAL_NVIC_SetPriority(EXTI15_10_IRQn, 0, 0);
  HAL_NVIC_EnableIRQ(EXTI15_10_IRQn);

}

/* USER CODE BEGIN 4 */
uint8_t inc_buz=0;
uint16_t speed_time=0,can_buzzer_delay=1000,sec=0,rev_buzzr_delay=0,temp_buzzr_delay=0,TRIP_TIMER=0;
uint16_t SYC_PASS = 0;//data_delay = 60 for bheem
int8_t bit_count=7;
uint8_t avg=0,last_count=0; uint16_t doc=0;
void HAL_TIM_PeriodElapsedCallback(TIM_HandleTypeDef *htim) // To create a every 100us timer Interrupt. prescalar value is 100 and ARR(Auto Reload Register) = 72.
{
  if (htim->Instance == TIM2)
  {
	 timerCounter++; //It will incremented every timer interrupt occur with time.
	 timerCounter2++;
	 timerCounter3++;
	 if(timerCounter==10)
	 {
		 m_sec++;
		 TRIP_TIMER++;
		 timerCounter=0;
	 }
	 if(m_sec==print_delay)
	 {
		 print_delay=m_sec+1000;
	     print_state=1;
	 }

	 if(m_sec==rev_buzzr_delay)
	 {
		 rev_buzzr_delay=m_sec+500;
		 if(Reverse_status==1)
		 {
			 HAL_GPIO_TogglePin(GPIOA, Buzzer_Pin);
		 }
	 }
	 if(m_sec==temp_buzzr_delay)
	 {
		 temp_buzzr_delay=m_sec+100;
		 if(Battery_high_Temp==1)
		 {
			 HAL_GPIO_TogglePin(GPIOA, Buzzer_Pin);
		 }
	 }

	 if(m_sec==speed_time)
	 {
		 if(doc>5)
		 {
			doc=0;
			speed_time=m_sec+1000;
			speed_count =last_count;
			after_sec=1;
			speed_count_temp=0;
		 }
		 else
		 {
			doc=0;
			speed_time=m_sec+1000;
			speed_count =speed_count_temp;;
			last_count=speed_count;
			after_sec=1;
			speed_count_temp=0;
		 }
	 }

	 if(m_sec == can_buzzer_delay)
	 {
		 if(inc_buz<=4)
		 {
			 can_buzzer_delay = m_sec+150;
			 if(can_error_state == 1)
			 {
				 inc_buz++;
			 }
		 }

		 if(can_error_state == 1)
		 {
			 HAL_GPIO_TogglePin(GPIOA, Buzzer_Pin);
			 if(inc_buz>4)
			 {
				 can_buzzer_delay = m_sec+60000;
				 inc_buz=0;
			 }
		 }
	 }

	 if(Pin_State == 1)
	 {
	 if(timerCounter2>=30)		// after every 750us only check the signal data from external interrupt pin.
	{
		 HAL_GPIO_TogglePin(GPIOB, Test_pin_Pin);
		 test_bit++;
		if(HAL_GPIO_ReadPin(GPIOB, ONE_WIRE_PRT_Pin)) 		//after 750us pin in high state , data 0
		{
			bitClear(dataArray[signalCounter],bit_count);
		}
		else
		{
			bitSet(dataArray[signalCounter],bit_count);		//after 750us pin in low state , data 1
		}
		Pin_State = 0;
		bit_count--;

		if(bit_count<0) 		// bit decrement for 7 to 0
		{
			signalCounter++;
			bit_count=7;
		}

		if(signalCounter >= 12)		//byte increment 0 to 12
		{
			signalCounter = 0;
			syncFlag = 1;
			SYC_DATA=0;
			timerCounter3=0;
			for(uint8_t i = 0; i < 12;i++)
			{
				dataArray1[i]=dataArray[i];		//The received data are stored in another array and it will wait for next data reception.
			}
			 processData();    	//after storing the data should be processed for structure for easy access to the user.
		}
		timerCounter2 = 0;
	}
	 }
  }
}

	volatile uint8_t buttonState = 0;  // Current button state (1 if pressed, 0 if released)
	volatile uint8_t lastButtonState = 1;  // Previous button state (1 if pressed, 0 if released)
	volatile uint32_t lastDebounceTime = 0,startDebounceTime=0;  // Time of the last button state change
	volatile uint32_t debounceDelay = 90;  // Debounce time in milliseconds
	volatile uint32_t temp_var;
	uint16_t reading,top=0;

void HAL_GPIO_EXTI_Callback (uint16_t GPIO_Pin)
{
	if(GPIO_Pin==speed_sensor_Pin)
	{
		uint8_t reading = HAL_GPIO_ReadPin(GPIOC, speed_sensor_Pin);

		if (reading == 1)
		{
			startDebounceTime =HAL_GetTick();
		}
		if (reading == 0)
		{
			lastDebounceTime = HAL_GetTick();
		}

		if(lastDebounceTime<startDebounceTime)
		{
			top=startDebounceTime-lastDebounceTime;
		}
		else
		{
			top=lastDebounceTime-startDebounceTime;
		}

		if(top>=8)
		{
			speed_count_temp++;
		}
		else
		{
			doc++;
		}
	}
 if (GPIO_Pin ==ONE_WIRE_PRT_Pin )  	//Every rising edge detected the interrupt will be triggered.
  {
	 if(SYC_DATA ==0)
	 {
		 if(timerCounter3 > 0)
		 {
			SYC_PASS = timerCounter3;		//whenever the interrupt triggered that corresponding timer interrupt count should be stored in variable.
			timerCounter3 = 0;
			 if(SYC_PASS >= 500)		//(SYN_PASS >=1000 For bheem)	//whenever the one interrupt to another interrupt time should be greater than 20ms , it is synchronization period . After the synchronization period data are storing process should be start.(20x50 = 1ms so 200x50 = 10ms)
			 {
				SYC_DATA = 1;
				SYC_PASS = 0;
				timerCounter3 = 0;
			 }
		 }
	 }

	 if(SYC_DATA == 1)
	 {
		Pin_State=1;   	//after synchronization this bit set for data storing.
		timerCounter2=0;
	 }
	 timerCounter3 = 0;
  }
}

void processData(void) { // find out the synchronization period and converting data into 's and 1's

   uint8_t calculatedChecksum = 0;
	for (int checksum_count = 0; checksum_count < STORED_DATA_SIZE - 1; checksum_count++) { //To calculate the checksum for DATA0 to DATA10 and check the received checksum in DATA11
		calculatedChecksum ^= dataArray1[checksum_count];
	}
	if (calculatedChecksum == dataArray1[STORED_DATA_SIZE - 1]) { // If the calculated checksum is equal to the received checksum then set the validDataFlag
		validDataFlag = 1;
	}
	else
	{
		checksum_error++;
		validDataFlag = 0;// If the calculated checksum is Not equal to the received checksum then Reset the validDataFlag
	}

	if(validDataFlag == 1)
	{
		Motor_Data.Device_Code = dataArray1[0]; // Default Device code stored in this variable. 8bit
		Motor_Data.Sequence_code = dataArray1[1]; // Default Sequence code stored in this variable. 8bit
		Motor_Data.Alternate_Bit1 = ((dataArray1[2] & 0xF0) >> 4); // This variable used for Alternate Function/operation . 4bit
		Motor_Data.Parking_Indication = ((dataArray1[2] & 0x08) >> 3); //This variable is stored the parking Indication state. 1bit
		Motor_Data.Speed_Limit = ((dataArray1[2] & 0x04) >> 2); // This variable is stored the Speed limit state. 1bit
		Motor_Data.Alternate_Bit2 = ((dataArray1[2] & 0x02) << 1); // This variable used for Alternate Function/operation 1bit
		Motor_Data.Side_Brace_Indication = ((dataArray1[2] & 0x01) >> 0);
		Motor_Data.Pushcart_prohibitedsign = ((dataArray1[3] & 0x80) >> 7); // If any Prohibited sign to indicate the display using this variable. 1bit
		Motor_Data.Hall_fault = ((dataArray1[3] & 0x40) >> 6); // If hall sensor status stored in this variable. 1bit(0-o hall fault, 1-Hall Fault).
		Motor_Data.Throttle_fault = ((dataArray1[3] & 0x20) >> 5); //If throttle status stored in this variable. 1bit(0-No Throttle Fault, 1-Throttle Fault).
		Motor_Data.Controller_fault = ((dataArray1[3] & 0x10) >> 4); //If the controller status stored in this variable. 1bit(0-No Controller Fault, 1-Controller Fault).
		Motor_Data.Under_Voltageprotection = ((dataArray1[3] & 0x08) >> 3); //Under voltage protection status stored in this variable. 1bit(0-No under voltage protection, 1- under voltage protection).
		Motor_Data.Cruise = ((dataArray1[3] & 0x04) >> 2); // Cruise mode on/off status stored in this variable. 1bit(0-No cruise mode on,1-cruise mode on).
		Motor_Data.Assistance_power = ((dataArray1[3] & 0x02) >> 1); //Power assistance status stored in this variable. 1bit(0-No power assistance, 1-Power assistance On).
		Motor_Data.Motor_phase_loss = ((dataArray1[3] & 0x01) >> 0); //Motor phase loss status stored in this variable. 1bit(0-No motor phase loss, 1-Motor phase loss).
		Motor_Data.Four_gear_indication = ((dataArray1[4] & 0x80) >> 7); //Four gear indication status stored in this variable. 1bit
		Motor_Data.Motor_Running = ((dataArray1[4] & 0x40) >> 6);//Motor status stored in this variable. 1bit(0- Motor is stopping ,1- Motor is running)
		Motor_Data.brake = ((dataArray1[4] & 0x20) >> 5); // Brake status stored in this variable. 1bit(0-No brake applied, 1- Brake applied)
		Motor_Data.Controller_protect = ((dataArray1[4] & 0x10) >> 4); //Controller protection  status stored in this variable. 1bit(0-No controller protection,1-Controller protection)
		Motor_Data.Slide_charging = ((dataArray1[4] & 0x08) >> 3); // Regeneration status stored in this variable. 1bit(0- No regeneration detected, 1- regeneration detected.	   	Motor_Data.Antiflying_vehicle_protection = ((dataArray[4] & 0x04) >> 2);
		Motor_Data.Three_speed = ((dataArray1[4] & 0x03) >> 0); // Three speed mode status stored in this variable. 2bit (00 - Controller without three speed, 01 - Low Speed, 10- Medium Speed, 11- High speed)
		Motor_Data.Cloud_powermode = ((dataArray1[5] & 0x80) >> 7); // Speed increase status stored in this variable. 1bit
		Motor_Data.Push_to_talk = ((dataArray1[5] & 0x40) >> 6); //Most EVs have bluetooth connectivity that allows you to connect your phone and use its features hands-free while driving. This includes making calls, sending messages, and using navigation app.1bit
		Motor_Data.Standby_powersupply = ((dataArray1[5] & 0x20) >> 5); //The standby power supply are stored in this variable.1bit(0-No standby power supply,1-Standby power supply mode on).
		Motor_Data.Overcurrent_protection = ((dataArray1[5] & 0x10) >> 4); //Over current protection status stored in this variable.1bit(0-No over current protection, 1-over current protection)
		Motor_Data.Locked_rotor_protection = ((dataArray1[5] & 0x08) >> 3); //This variable is stored the status of Locked Rotor protection. (0-No locked Rotor protection,1-Locked Rotor Protection)
		Motor_Data.Reverse = ((dataArray1[5] & 0x04) >> 2); //This variable is stored the status of reverse indication. 1bit(0- Forward, 1- Reverse).
		Motor_Data.Electronic_break = ((dataArray1[5] & 0x02) >> 1); //It is a Low Brake. The Low brake indication status are stored in this bit . 1bit
		Motor_Data.Speed_limit = ((dataArray1[5] & 0x01) >> 0); //To set the speed limit using this variable. 1bit
		Motor_Data.Operating_current = dataArray1[6];//Operating current rating are stored in this variable. 8bit
		Motor_Data.Speed = ((dataArray1[7] << 8 )| dataArray[8]); //Speed calculation are stored in this variable. Speed byte high(8bit) and speed byte low(8bit) are combined and stored in this single variable. 16bits
		Motor_Data.Battery_Level = dataArray1[9]; //Battery level are stored in this variable. 8bit
		Motor_Data.Current_Level = dataArray1[10]; //Current level are stored in this variable. 8bit
		Motor_Data.Checksum = dataArray1[11]; // Received checksum data's are stored in this variable. 8bit
		validDataFlag = 0;

		if(Motor_Data.Device_Code==13)
			{
				if(dataArray1[7]==106)
				{
					if((dataArray[8]>=106)&&(dataArray1[8]<=255))
					{
						speed_temp1=dataArray1[8]-106;
					}
					if((dataArray[8]>=0)&&(dataArray1[8]<=105))
					{
						speed_temp1=dataArray1[8]+149;
					}
				}

				if(dataArray1[7]==107)
				{
					if((dataArray[8]>=106)&&(dataArray1[8]<=255))
					{
						speed_temp1=dataArray1[8]+149;
					}
					if((dataArray[8]>=0)&&(dataArray1[8]<=105))
					{
						speed_temp1=dataArray1[8]+404;
					}
				}

				if(dataArray1[7]==108)
				{
					if((dataArray[8]>=106)&&(dataArray1[8]<=255))
					{
						speed_temp1=dataArray1[8]+404;
					}
					if((dataArray[8]>=0)&&(dataArray1[8]<=105))
					{
						speed_temp1=dataArray1[8]+659;
					}
				}
				controller_speed_data=speed_temp1*1.1;
	}
		if(Motor_Data.Device_Code==8)
		{
			controller_speed_data=Motor_Data.Speed*1.1;
		}

}
}

/* USER CODE END 4 */

void Error_Handler(void)
{
  /* USER CODE BEGIN Error_Handler_Debug */
  /* User can add his own implementation to report the HAL error return state */
  __disable_irq();
  while (1)
  {
	    HAL_NVIC_SystemReset();
  }
  /* USER CODE END Error_Handler_Debug */
}
